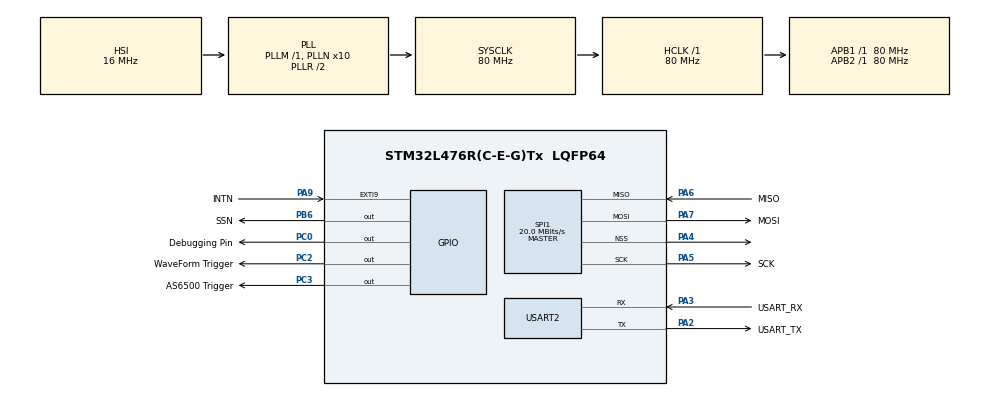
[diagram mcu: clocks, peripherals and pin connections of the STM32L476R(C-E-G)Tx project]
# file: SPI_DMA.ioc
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Dma.Request0=SPI1_RX
Dma.Request1=SPI1_TX
Dma.SPI1_RX.0.Direction=DMA_PERIPH_TO_MEMORY
Dma.SPI1_RX.0.Instance=DMA1_Channel2
Dma.SPI1_RX.0.MemDataAlignment=DMA_MDATAALIGN_BYTE
Dma.SPI1_RX.0.MemInc=DMA_MINC_ENABLE
Dma.SPI1_RX.0.Mode=DMA_NORMAL
Dma.SPI1_RX.0.PeriphDataAlignment=DMA_PDATAALIGN_BYTE
Dma.SPI1_RX.0.PeriphInc=DMA_PINC_DISABLE
Dma.SPI1_RX.0.Priority=DMA_PRIORITY_VERY_HIGH
Dma.SPI1_TX.1.Direction=DMA_MEMORY_TO_PERIPH
Dma.SPI1_TX.1.Instance=DMA1_Channel3
Dma.SPI1_TX.1.MemDataAlignment=DMA_MDATAALIGN_BYTE
Dma.SPI1_TX.1.MemInc=DMA_MINC_ENABLE
Dma.SPI1_TX.1.Mode=DMA_NORMAL
Dma.SPI1_TX.1.PeriphDataAlignment=DMA_PDATAALIGN_BYTE
Dma.SPI1_TX.1.PeriphInc=DMA_PINC_DISABLE
Dma.SPI1_TX.1.Priority=DMA_PRIORITY_VERY_HIGH
Mcu.Family=STM32L4
Mcu.Name=STM32L476R(C-E-G)Tx
Mcu.Package=LQFP64
NVIC.DMA1_Channel2_IRQn=true\:0\:0\:false\:false\:true\:false\:true
NVIC.DMA1_Channel3_IRQn=true\:0\:0\:false\:false\:true\:false\:true
NVIC.EXTI9_5_IRQn=true\:0\:0\:false\:false\:true\:true\:true
NVIC.PriorityGroup=NVIC_PRIORITYGROUP_4
PA13\ (JTMS-SWDIO).GPIO_Label=TMS
PA13\ (JTMS-SWDIO).Mode=Serial_Wire
PA13\ (JTMS-SWDIO).Signal=SYS_JTMS-SWDIO
PA14\ (JTCK-SWCLK).GPIO_Label=TCK
PA14\ (JTCK-SWCLK).Mode=Serial_Wire
PA14\ (JTCK-SWCLK).Signal=SYS_JTCK-SWCLK
PA2.GPIO_Label=USART_TX
PA2.GPIO_Mode=GPIO_MODE_AF_PP
PA2.GPIO_PuPd=GPIO_NOPULL
PA2.GPIO_Speed=GPIO_SPEED_FREQ_VERY_HIGH
PA2.Mode=Asynchronous
PA2.Signal=USART2_TX
PA3.GPIO_Label=USART_RX
PA3.GPIO_Mode=GPIO_MODE_AF_PP
PA3.GPIO_PuPd=GPIO_NOPULL
PA3.GPIO_Speed=GPIO_SPEED_FREQ_VERY_HIGH
PA3.Mode=Asynchronous
PA3.Signal=USART2_RX
PA4.GPIO_Speed=GPIO_SPEED_FREQ_HIGH
PA4.Mode=NSS_Signal_Hard_Output
PA4.Signal=SPI1_NSS
PA5.GPIO_Label=SCK
PA5.GPIO_PuPd=GPIO_PULLDOWN
PA5.GPIO_Speed=GPIO_SPEED_FREQ_HIGH
PA5.Mode=Full_Duplex_Master
PA5.Signal=SPI1_SCK
PA6.GPIO_Label=MISO
PA6.GPIO_PuPd=GPIO_NOPULL
PA6.GPIO_Speed=GPIO_SPEED_FREQ_HIGH
PA6.Mode=Full_Duplex_Master
PA6.Signal=SPI1_MISO
PA7.GPIO_Label=MOSI
PA7.GPIO_PuPd=GPIO_PULLDOWN
PA7.GPIO_Speed=GPIO_SPEED_FREQ_HIGH
PA7.Mode=Full_Duplex_Master
PA7.Signal=SPI1_MOSI
PA9.GPIO_Label=INTN
PA9.GPIO_ModeDefaultEXTI=GPIO_MODE_IT_RISING_FALLING
PA9.GPIO_PuPd=GPIO_NOPULL
PA9.Signal=GPXTI9
PB3\ (JTDO-TRACESWO).GPIO_Label=SWO
PB3\ (JTDO-TRACESWO).Signal=SYS_JTDO-SWO
PB6.GPIO_FM6=__NULL
PB6.GPIO_Label=SSN
PB6.GPIO_PuPd=GPIO_PULLUP
PB6.GPIO_Speed=GPIO_SPEED_FREQ_HIGH
PB6.PinState=GPIO_PIN_SET
PB6.Signal=GPIO_Output
PC0.GPIO_Label=Debugging Pin
PC0.GPIO_PuPd=GPIO_PULLDOWN
PC0.GPIO_Speed=GPIO_SPEED_FREQ_HIGH
PC0.Signal=GPIO_Output
PC2.GPIO_Label=WaveForm Trigger
PC2.GPIO_PuPd=GPIO_PULLDOWN
PC2.GPIO_Speed=GPIO_SPEED_FREQ_HIGH
PC2.Signal=GPIO_Output
PC3.GPIO_Label=AS6500 Trigger
PC3.GPIO_PuPd=GPIO_PULLDOWN
PC3.GPIO_Speed=GPIO_SPEED_FREQ_HIGH
PC3.Signal=GPIO_Output
ProjectManager.HeapSize=0x200
ProjectManager.StackSize=0x400
ProjectManager.TargetToolchain=STM32CubeIDE
RCC.ADCFreq_Value=64000000
RCC.AHBFreq_Value=80000000
RCC.APB1Freq_Value=80000000
RCC.APB1TimFreq_Value=80000000
RCC.APB2Freq_Value=80000000
RCC.APB2TimFreq_Value=80000000
RCC.CortexFreq_Value=80000000
RCC.HCLKFreq_Value=80000000
RCC.HSE_VALUE=8000000
RCC.HSI_VALUE=16000000
RCC.LSE_VALUE=32768
RCC.MSI_VALUE=4000000
RCC.PLLN=10
RCC.PLLSourceVirtual=RCC_PLLSOURCE_HSI
RCC.PREFETCH_ENABLE=1
RCC.SYSCLKFreq_VALUE=80000000
RCC.SYSCLKSource=RCC_SYSCLKSOURCE_PLLCLK
RCC.USBFreq_Value=64000000
RCC.VCOOutputFreq_Value=160000000
SPI1.BaudRatePrescaler=SPI_BAUDRATEPRESCALER_4
SPI1.CLKPhase=SPI_PHASE_2EDGE
SPI1.CalculateBaudRate=20.0 MBits/s
SPI1.DataSize=SPI_DATASIZE_8BIT
SPI1.Direction=SPI_DIRECTION_2LINES
SPI1.Mode=SPI_MODE_MASTER
SPI1.TIMode=SPI_TIMODE_DISABLE
SPI1.VirtualNSS=VM_NSSHARD
SPI1.VirtualType=VM_MASTER
USART2.VirtualMode-Asynchronous=VM_ASYNC
board=NUCLEO-L476RG

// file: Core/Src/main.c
/* USER CODE BEGIN Header */
/**
  ******************************************************************************
  * @file           : main.c
  * @brief          : Main program body
  ******************************************************************************
  * @attention
  *
  * Copyright (c) 2022 STMicroelectronics.
  * All rights reserved.
  *
  * This software is licensed under terms that can be found in the LICENSE file
  * in the root directory of this software component.
  * If no LICENSE file comes with this software, it is provided AS-IS.
  *
  ******************************************************************************
  */
/* USER CODE END Header */
#include "main.h"

/* USER CODE BEGIN Includes */
#include "user_spi_dma_interface.c"
#include "user_spi_interface.c"
#include "user_tools.c"

/* USER CODE END Includes */

/* USER CODE BEGIN PD */

// Opcode Hex / BIN Description / One Byte
#define spiopc_power        0x30	// = 0b00110000 Power on reset and stop measurement
#define spiopc_init         0x18	// = 0b00011000 Initializes Chip and starts measurement
#define spiopc_write_config 0x80	// = 0b100XXXXX 0x60 = 0b011XXXXX
#define spiopc_read_results 0x60	// = 0b011XXXXX Read opcode for result and status register X=8..31
#define spiopc_read_config  0x40	// = 0b010XXXXX Readout of configuration register X=0..16

#define put_ssn_low (SSN_GPIO_Port->BRR = (uint32_t)SSN_Pin)		// 1. Put SSN low - Activate, SSN -> CLK = 3.6us
#define put_ssn_high (SSN_GPIO_Port->BSRR = (uint32_t)SSN_Pin)	// 4. Put SSN high - Deactivate, CLK -> SSN = 8us

/* USER CODE END PD */

SPI_HandleTypeDef hspi1;
DMA_HandleTypeDef hdma_spi1_rx;
DMA_HandleTypeDef hdma_spi1_tx;

UART_HandleTypeDef huart2;

/* USER CODE BEGIN PV */

/* empty configuration*/
uint8_t CFG_Empty [] = {
		0xFF, 0xFF, 0xFF, 0xFF,
		0xFF, 0xFF, 0xFF, 0xFF,
		0xFF, 0xFF, 0xFF, 0xFF,
		0xFF, 0xFF, 0xFF, 0xFF,
		0xFF, 0xFF, 0xFF, 0xFF
};

/* default configuration*/
uint8_t CFG_Registers [] = {
		0x31, 0x01, 0x1F, 0x40,
		0x0D, 0x03, 0xC0, 0x53,
		0xA1, 0x13, 0x00, 0x0A,
		0xCC, 0xCC, 0x31, 0x8E,
		0x04, 0x00, 0x00, 0x00
};

/* 5MHzRef_on_board config */
uint8_t CFG_DUT_Registers [] = {
		0x83, 0x03, 0x1D, 0x20,  //CFG 0 - PIN_ENA_RSTIDX bit[7] instead of 0x03 -->0x83
		0x4E, 0x00, 0xC0, 0xD3,  //CFG 3,4,5 - REFCLK_DEVISION = 20000
		0xA1, 0x13, 0x00, 0x0A,
		0xCC, 0xCC, 0xF1, 0x7D,
		0x04, 0x00, 0x00, 0x00
};

uint8_t CFG_DUT_Registers_DMA [] = {
		0x80,                    //spiopc_write_config
		0x83, 0x03, 0x1D, 0x20,  //CFG 0 - PIN_ENA_RSTIDX bit[7] instead of 0x03 -->0x83
		0x4E, 0x00, 0xC0, 0xD3,  //CFG 3,4,5 - REFCLK_DEVISION = 20000
		0xA1, 0x13, 0x00, 0x0A,
		0xCC, 0xCC, 0xF1, 0x7D,
		0x04, 0x00, 0x00, 0x00
};

uint8_t choose = 0;
int wr_until = 18;

static uint8_t Read_REG [20] = {0, 0, 0, 0, 0, 0, 0, 0, 0, 0,
		0, 0, 0, 0, 0, 0, 0, 0, 0, 0};

volatile uint32_t My_INTN_Counter = 0;
volatile uint8_t My_INTN_State = 1;

volatile uint8_t MyResetIndex = 1;

uint32_t Index_No = 0;
uint32_t RD_Trigger = 0;

uint32_t timeout_count = 12800;
uint32_t RD_Timeout = 128;
volatile uint32_t Raw_Array[1000][4];

volatile float Last_REFID1 = 0, Last_REFID2 = 0;
volatile float Last_TSTOP1 = 0, Last_TSTOP2 = 0;

#define max_index 40 //1000
volatile float DiffTSTOP[max_index] , DiffREFID[max_index] ;
volatile float Final_CALC[max_index];

volatile float My_Hit_01 = 0;
volatile float My_Hit_02 = 0;
volatile float My_Last_Hit = 0;
volatile uint32_t My_Clear_FIFO = 0;

volatile uint8_t Valid_TSTOP1 = 0, Valid_TSTOP2 = 0, Calc_Diff = 0;

uint32_t fifo_size = 0;

uint32_t FIFO_Expect_Burst = 32; // number of expected STOP pulses, max.

volatile uint32_t Calc_Index = 0; 		// Index of calculated arrays
volatile uint32_t WR_Index = 0; // Write into Raw_Array[]
volatile uint32_t RD_Index = 0; // Read from Raw_Array[]

//uint32_t REFCLK_DIVISIONS = 200000; //REF Clock = 5 MHz, Period = 200ns
volatile uint32_t REFCLK_DIVISIONS = 20000;

/* USER CODE END PV */

void SystemClock_Config(void);
static void MX_GPIO_Init(void);
static void MX_USART2_UART_Init(void);
static void MX_DMA_Init(void);
static void MX_SPI1_Init(void);
/* USER CODE BEGIN PFP */

void HAL_GPIO_EXTI_Callback(uint16_t GPIO_Pin);
void HAL_SPI_TxCpltCallback(SPI_HandleTypeDef *hspi);
void HAL_SPI_RxCpltCallback(SPI_HandleTypeDef * hspi);
void HAL_SPI_TxRxCpltCallback(SPI_HandleTypeDef * hspi);

void POST_Processing(void);
void Trigger_Generation(void);

void HAL_SPI_MY_TransmitReceive_DMA(SPI_HandleTypeDef *hspi, uint8_t *pTxData, uint8_t *pRxData, uint16_t Size);
void HAL_SPI_MY_Transmit_DMA(SPI_HandleTypeDef *hspi, uint8_t *pTxData, uint16_t Size);

/* USER CODE END PFP */

int main(void)
{

  /* MCU Configuration--------------------------------------------------------*/

  /* Reset of all peripherals, Initializes the Flash interface and the Systick. */
  HAL_Init();

  /* Configure the system clock */
  SystemClock_Config();

  /* Initialize all configured peripherals */
  MX_GPIO_Init();
  MX_USART2_UART_Init();
  MX_DMA_Init();
  MX_SPI1_Init();
  /* USER CODE BEGIN 2 */

  uint8_t TX_Array[1];

  // Note: following switch() uses these cases:
  // 0 - My Function
  // 1 - HAL Function
  // 2 - HAL DMA Function
  // 3 - My (extern) DMA Function
  // 4 - My (intern) DMA Function

  // Transmitting opcode SystemReset, only
  TX_Array[0] = spiopc_power;
  switch(choose) {
  case 0: // My Function works - 12 us
	  Write_Opcode(spiopc_power);
	  break;
  case 1: // HAL Function works - 10 us
	  put_ssn_low; //macro
	  HAL_SPI_Transmit(&hspi1, TX_Array, 1, 10);
	  put_ssn_high; //macro
	  break;
  case 2: // HAL DMA Function works with Callback, only!
	  put_ssn_low;
	  // Works only with HAL_SPI_TxCpltCallback function - 18 us
	  HAL_SPI_Transmit_DMA(&hspi1, TX_Array, 1);
	  // SSN goes high by using Callback
	  break;
  case 3: // My (extern) DMA Function works - 2.6 us
	  My_Transmit_DMA(TX_Array, 1);
	  break;
  case 4: // My (intern) DMA Function works - 1.7 us ****
	  HAL_SPI_MY_Transmit_DMA(&hspi1, TX_Array, 1);
	  break;
  default:
	  choose = 0;
  }

  Delay_100us(1); // 100us, Delay between power-on or initialisation reset and next communication

  // write config
  switch(choose) {
  case 0: // My Function works - 200 us
	  Write_Byte_Auto_Incr_Lite(spiopc_write_config, 0, CFG_DUT_Registers, 17);
	  break;
  case 1: // HAL Function works - 20 us (fast, except SSN)
	  put_ssn_low; //macro
	  HAL_SPI_Transmit(&hspi1, CFG_DUT_Registers_DMA, wr_until, 10); //size = opcode + data
	  put_ssn_high; //macro
	  break;
  case 2: // HAL DMA Function works with Callback, only!
	  put_ssn_low;

	  // Works only with HAL_SPI_TxCpltCallback function - 25 us
	  HAL_SPI_Transmit_DMA(&hspi1, CFG_DUT_Registers_DMA, wr_until);
	  // SSN goes high by using Callback
	  break;
  case 3: // My (extern) DMA Function works - 8.8 us
	  My_Transmit_DMA(CFG_DUT_Registers_DMA, wr_until);
	  break;
  case 4: // My (intern) DMA Function works - 7.8 us ****
	  HAL_SPI_MY_Transmit_DMA(&hspi1, CFG_DUT_Registers_DMA, wr_until);
	  break;
  default:
	  choose = 0;
  }

  Delay_100us(1); // 100us, Delay between power-on or initialisation reset and next communication

  // read config
  CFG_Empty[0] = spiopc_read_config;
  switch(choose) {
  case 0: // My Function works - 50 us
	  Read_Byte_Auto_Incr_Lite(spiopc_read_config, 0, Read_REG, 17);
	  break;
  case 1: // HAL Function works - 37 us
	  put_ssn_low; //macro
	  HAL_SPI_TransmitReceive(&hspi1, CFG_Empty, Read_REG, 18, 10);
	  put_ssn_high; //macro
	  break;
  case 2: // HAL DMA Function works with Callback, only!
	  put_ssn_low; //macro

	  // a) Works only with HAL_SPI_TxRxCpltCallback function - 27 us
	  HAL_SPI_TransmitReceive_DMA(&hspi1, CFG_Empty, Read_REG, 18);
	  // SSN goes high by using Callback Function

	  // b) Works only with HAL_SPI_RxCpltCallback function - 42 us
	  //HAL_SPI_Transmit_DMA(&hspi1, CFG_Empty, 1);
	  //HAL_SPI_Receive_DMA(&hspi1, Read_REG, 17);
	  // SSN goes high by using Callback Function
	  break;
  case 3: // My (extern) DMA Function works - 8.8 us
	  My_TransmitReceive_DMA(CFG_Empty, Read_REG, 18);
	  break;
  case 4: // My (intern) DMA Function works - 7.8 us ****
	  HAL_SPI_MY_TransmitReceive_DMA(&hspi1, CFG_Empty, Read_REG, 18);
	  break;
  default:
	  choose = 0;
  }

  Delay_100us(1); // 100us, Delay between power-on or initialisation reset and next communication

  //write INIT
  TX_Array[0]= spiopc_init;
  switch(choose) {
  case 0: // My Function works - 12 us
	  Write_Opcode(spiopc_init);
	  break;
  case 1: // HAL Function works - 10 us
	  put_ssn_low; //macro
	  HAL_SPI_Transmit(&hspi1, TX_Array, 1, 10);
	  put_ssn_high; //macro
	  break;
  case 2: // HAL DMA Function works with Callback, only!
	  put_ssn_low;
	  // Works only with HAL_SPI_TxCpltCallback function - 18 us
	  HAL_SPI_Transmit_DMA(&hspi1, TX_Array, 1);
	  // SSN goes high by using Callback
	  break;
  case 3: // My (extern) DMA Function works - 2.6 us
	  My_Transmit_DMA(TX_Array, 1);
	  break;
  case 4: // My (intern) DMA Function works - 1.7 us ****
	  HAL_SPI_MY_Transmit_DMA(&hspi1, TX_Array, 1);
	  break;
  default:
	  choose = 0;
  }

  /* USER CODE END 2 */

  /* Infinite loop */
  while (1)
  {

  }
}

void SystemClock_Config(void)
{
  RCC_OscInitTypeDef RCC_OscInitStruct = {0};
  RCC_ClkInitTypeDef RCC_ClkInitStruct = {0};

  /** Configure the main internal regulator output voltage
  */
  if (HAL_PWREx_ControlVoltageScaling(PWR_REGULATOR_VOLTAGE_SCALE1) != HAL_OK)
  {
    Error_Handler();
  }
  /** Initializes the RCC Oscillators according to the specified parameters
  * in the RCC_OscInitTypeDef structure.
  */
  RCC_OscInitStruct.OscillatorType = RCC_OSCILLATORTYPE_HSI;
  RCC_OscInitStruct.HSIState = RCC_HSI_ON;
  RCC_OscInitStruct.HSICalibrationValue = RCC_HSICALIBRATION_DEFAULT;
  RCC_OscInitStruct.PLL.PLLState = RCC_PLL_ON;
  RCC_OscInitStruct.PLL.PLLSource = RCC_PLLSOURCE_HSI;
  RCC_OscInitStruct.PLL.PLLM = 1;
  RCC_OscInitStruct.PLL.PLLN = 10;
  RCC_OscInitStruct.PLL.PLLP = RCC_PLLP_DIV7;
  RCC_OscInitStruct.PLL.PLLQ = RCC_PLLQ_DIV2;
  RCC_OscInitStruct.PLL.PLLR = RCC_PLLR_DIV2;
  if (HAL_RCC_OscConfig(&RCC_OscInitStruct) != HAL_OK)
  {
    Error_Handler();
  }
  /** Initializes the CPU, AHB and APB buses clocks
  */
  RCC_ClkInitStruct.ClockType = RCC_CLOCKTYPE_HCLK|RCC_CLOCKTYPE_SYSCLK
                              |RCC_CLOCKTYPE_PCLK1|RCC_CLOCKTYPE_PCLK2;
  RCC_ClkInitStruct.SYSCLKSource = RCC_SYSCLKSOURCE_PLLCLK;
  RCC_ClkInitStruct.AHBCLKDivider = RCC_SYSCLK_DIV1;
  RCC_ClkInitStruct.APB1CLKDivider = RCC_HCLK_DIV1;
  RCC_ClkInitStruct.APB2CLKDivider = RCC_HCLK_DIV1;

  if (HAL_RCC_ClockConfig(&RCC_ClkInitStruct, FLASH_LATENCY_4) != HAL_OK)
  {
    Error_Handler();
  }
}

static void MX_SPI1_Init(void)
{

  /* SPI1 parameter configuration*/
  hspi1.Instance = SPI1;
  hspi1.Init.Mode = SPI_MODE_MASTER;
  hspi1.Init.Direction = SPI_DIRECTION_2LINES;
  hspi1.Init.DataSize = SPI_DATASIZE_8BIT;
  hspi1.Init.CLKPolarity = SPI_POLARITY_LOW;
  hspi1.Init.CLKPhase = SPI_PHASE_2EDGE;
  hspi1.Init.NSS = SPI_NSS_HARD_OUTPUT;
  hspi1.Init.BaudRatePrescaler = SPI_BAUDRATEPRESCALER_4;
  hspi1.Init.FirstBit = SPI_FIRSTBIT_MSB;
  hspi1.Init.TIMode = SPI_TIMODE_DISABLE;
  hspi1.Init.CRCCalculation = SPI_CRCCALCULATION_DISABLE;
  hspi1.Init.CRCPolynomial = 7;
  hspi1.Init.CRCLength = SPI_CRC_LENGTH_DATASIZE;
  hspi1.Init.NSSPMode = SPI_NSS_PULSE_DISABLE;
  if (HAL_SPI_Init(&hspi1) != HAL_OK)
  {
    Error_Handler();
  }

}

static void MX_USART2_UART_Init(void)
{

  huart2.Instance = USART2;
  huart2.Init.BaudRate = 115200;
  huart2.Init.WordLength = UART_WORDLENGTH_8B;
  huart2.Init.StopBits = UART_STOPBITS_1;
  huart2.Init.Parity = UART_PARITY_NONE;
  huart2.Init.Mode = UART_MODE_TX_RX;
  huart2.Init.HwFlowCtl = UART_HWCONTROL_NONE;
  huart2.Init.OverSampling = UART_OVERSAMPLING_16;
  huart2.Init.OneBitSampling = UART_ONE_BIT_SAMPLE_DISABLE;
  huart2.AdvancedInit.AdvFeatureInit = UART_ADVFEATURE_NO_INIT;
  if (HAL_UART_Init(&huart2) != HAL_OK)
  {
    Error_Handler();
  }

}

static void MX_DMA_Init(void)
{

  /* DMA controller clock enable */
  __HAL_RCC_DMA1_CLK_ENABLE();

  /* DMA interrupt init */
  /* DMA1_Channel2_IRQn interrupt configuration */
  HAL_NVIC_SetPriority(DMA1_Channel2_IRQn, 0, 0);
  HAL_NVIC_EnableIRQ(DMA1_Channel2_IRQn);
  /* DMA1_Channel3_IRQn interrupt configuration */
  HAL_NVIC_SetPriority(DMA1_Channel3_IRQn, 0, 0);
  HAL_NVIC_EnableIRQ(DMA1_Channel3_IRQn);

}

static void MX_GPIO_Init(void)
{
  GPIO_InitTypeDef GPIO_InitStruct = {0};

  /* GPIO Ports Clock Enable */
  __HAL_RCC_GPIOC_CLK_ENABLE();
  __HAL_RCC_GPIOA_CLK_ENABLE();
  __HAL_RCC_GPIOB_CLK_ENABLE();

  /*Configure GPIO pin Output Level */
  HAL_GPIO_WritePin(GPIOC, Debugging_Pin_Pin|WaveForm_Trigger_Pin|AS6500_Trigger_Pin, GPIO_PIN_RESET);

  /*Configure GPIO pin Output Level */
  HAL_GPIO_WritePin(SSN_GPIO_Port, SSN_Pin, GPIO_PIN_SET);

  /*Configure GPIO pins : Debugging_Pin_Pin WaveForm_Trigger_Pin AS6500_Trigger_Pin */
  GPIO_InitStruct.Pin = Debugging_Pin_Pin|WaveForm_Trigger_Pin|AS6500_Trigger_Pin;
  GPIO_InitStruct.Mode = GPIO_MODE_OUTPUT_PP;
  GPIO_InitStruct.Pull = GPIO_PULLDOWN;
  GPIO_InitStruct.Speed = GPIO_SPEED_FREQ_HIGH;
  HAL_GPIO_Init(GPIOC, &GPIO_InitStruct);

  /*Configure GPIO pin : INTN_Pin */
  GPIO_InitStruct.Pin = INTN_Pin;
  GPIO_InitStruct.Mode = GPIO_MODE_IT_RISING_FALLING;
  GPIO_InitStruct.Pull = GPIO_NOPULL;
  HAL_GPIO_Init(INTN_GPIO_Port, &GPIO_InitStruct);

  /*Configure GPIO pin : SSN_Pin */
  GPIO_InitStruct.Pin = SSN_Pin;
  GPIO_InitStruct.Mode = GPIO_MODE_OUTPUT_PP;
  GPIO_InitStruct.Pull = GPIO_PULLUP;
  GPIO_InitStruct.Speed = GPIO_SPEED_FREQ_HIGH;
  HAL_GPIO_Init(SSN_GPIO_Port, &GPIO_InitStruct);

  /* EXTI interrupt init*/
  HAL_NVIC_SetPriority(EXTI9_5_IRQn, 0, 0);
  HAL_NVIC_EnableIRQ(EXTI9_5_IRQn);

}

/* USER CODE BEGIN 4 */

void HAL_GPIO_EXTI_Callback(uint16_t GPIO_Pin)
{
	/* stm32l4xx_hal_gpio.c */

	/* Prevent unused argument(s) compilation warning */
	UNUSED(GPIO_Pin);

	// Note: It takes about 1us after INTN
	//Debugging_Pin_GPIO_Port->BSRR = (uint32_t)Debugging_Pin_Pin; // SET
	//Debugging_Pin_GPIO_Port->BRR = (uint32_t)Debugging_Pin_Pin; // RESET

	if (GPIO_Pin == INTN_Pin) {
		My_INTN_State = (HAL_GPIO_ReadPin(INTN_GPIO_Port, INTN_Pin) == GPIO_PIN_SET); /* low active */
		if (My_INTN_State == 0) {
			My_INTN_Counter += 1;
		}
	}

	//HAL_GPIO_TogglePin(Debugging_Pin_GPIO_Port, Debugging_Pin_Pin);
}

void HAL_SPI_TxCpltCallback(SPI_HandleTypeDef *hspi)
{
    // TX-RX Done .. Do Something ...
	//while((hspi->Instance->SR & SPI_SR_RXNE)!=RESET);	// Receive buffer Not Empty
	while((hspi->Instance->SR & SPI_SR_BSY)!=RESET);	// Busy flag
	SSN_GPIO_Port->BSRR = (uint32_t)SSN_Pin;			// Put SSN high - Deactivate
	// Debugging (GPIO C0)
	//Debugging_Pin_GPIO_Port->BSRR = (uint32_t)Debugging_Pin_Pin; // SET
	//Debugging_Pin_GPIO_Port->BRR = (uint32_t)Debugging_Pin_Pin; // RESET
}

void HAL_SPI_RxCpltCallback(SPI_HandleTypeDef * hspi)
{
    // TX-RX Done .. Do Something ...
	while((hspi->Instance->SR & SPI_SR_BSY)!=RESET);	// Busy flag
	SSN_GPIO_Port->BSRR = (uint32_t)SSN_Pin;			// Put SSN high - Deactivate
	// Debugging (GPIO C0)
	//Debugging_Pin_GPIO_Port->BSRR = (uint32_t)Debugging_Pin_Pin; // SET
	//Debugging_Pin_GPIO_Port->BRR = (uint32_t)Debugging_Pin_Pin; // RESET
}

void HAL_SPI_TxRxCpltCallback(SPI_HandleTypeDef * hspi)
{
    // TX-RX Done .. Do Something ...
	while((hspi->Instance->SR & SPI_SR_BSY)!=RESET); 	// Busy flag
	SSN_GPIO_Port->BSRR = (uint32_t)SSN_Pin;			// Put SSN high - Deactivate
	// Debugging (GPIO C0)
	//Debugging_Pin_GPIO_Port->BSRR = (uint32_t)Debugging_Pin_Pin; // SET
	//Debugging_Pin_GPIO_Port->BRR = (uint32_t)Debugging_Pin_Pin; // RESET
}

void POST_Processing(void)
{
	for (int i = 0; i < (WR_Index-RD_Index); i++)
	{
		// Recognition of Last Valid Result for STOP Channel (TX)
		if ( (Raw_Array[RD_Index][0] != 0x00FFFFFF) && (Raw_Array[RD_Index][1] != 0x00FFFFFF) )
		{
			Last_REFID1 = Raw_Array[RD_Index][0];
			Last_TSTOP1 = Raw_Array[RD_Index][1];
			Valid_TSTOP1 = 1;

			Valid_TSTOP2 = 0;
			Calc_Diff = 0;
		}

		// Recognition of Last Valid Result for STOP Channel (RX)
		if ( (Raw_Array[RD_Index][2] != 0x00FFFFFF) && (Raw_Array[RD_Index][3] != 0x00FFFFFF) )
		{
			Last_REFID2 = Raw_Array[RD_Index][2];
			Last_TSTOP2 = Raw_Array[RD_Index][3];
			Valid_TSTOP2 = 1;

		}

		RD_Index++;

		//Execution, only as soon as both channels have last value.
		if ((Valid_TSTOP1 == 1) && (Valid_TSTOP2 == 1))
		{
			// Calculation of STOP2 minus STOP1
			DiffTSTOP[Calc_Index] = ( Last_TSTOP2 - Last_TSTOP1 );
			DiffREFID[Calc_Index] = ( Last_REFID2 - Last_REFID1 );

			Final_CALC[Calc_Index] = ( (DiffTSTOP[Calc_Index]) + (DiffREFID[Calc_Index] * REFCLK_DIVISIONS) );
			Final_CALC[Calc_Index] /= 100000; //Result in [us]

			if ( (Final_CALC[Calc_Index] > 0) )
			{
				Calc_Index++; // pointer at next address.
				Calc_Diff++; // counting calculated difference (STOP2 - STOP1)

			}

		} // End of IF (..Validation)

	} // End of FOR Loop

	return;
}

void Trigger_Generation(void)
{
	// Unlock Blocked FIFO
	// FIFO full -> FIFO blocked, then further pulses are lost.
	// There must be unlocked with two dummy pulses.

	// Unlocking of FIFO with 2 dummy STOPS (plus 1 safety), (because of synchronisation) when FIFO was full once
	// Or unlocking of FIFO by POR + WR configuration once again

	// t.b.d.

	//clear FIFO before restarting
	Clearing_All_FIFOs();

	// Debugging (GPIO C0)
	//HAL_GPIO_TogglePin(Debugging_Pin_GPIO_Port, Debugging_Pin_Pin);

	// Clearing RSTIDX: Reference Index Counter Reset, has to be activated with PIN_ENA_RSTIDX.
	// AS6500 Trigger (GPIO C3) --> RSTIDX
	AS6500_Trigger_GPIO_Port->BSRR = (uint32_t)AS6500_Trigger_Pin; // SET
	AS6500_Trigger_GPIO_Port->BRR = (uint32_t)AS6500_Trigger_Pin; // RESET

	// Triggering WaveForm Generator via GPIO
	// WaveFrom Trigger (GPIO C2) --> STOP1
	WaveForm_Trigger_GPIO_Port->BSRR = (uint32_t)WaveForm_Trigger_Pin; // SET
	WaveForm_Trigger_GPIO_Port->BRR = (uint32_t)WaveForm_Trigger_Pin; // RESET

	return;
}

/*git hub - spi.c*/
void HAL_SPI_MY_TransmitReceive_DMA(SPI_HandleTypeDef *hspi, uint8_t *pTxData, uint8_t *pRxData, uint16_t Size)
{
	hspi->Instance->CR2 |= SPI_CR2_TXDMAEN;							// Enable Tx DMA Request
	hspi->Instance->CR2 |= SPI_CR2_RXDMAEN;							// Enable Rx DMA Request

	hdma_spi1_tx.Instance->CCR &= ~DMA_CCR_EN;						// Channel enable
	hdma_spi1_tx.Instance->CPAR = (uint32_t)&hspi->Instance->DR;	// DMA channel x peripheral address register
	hdma_spi1_tx.Instance->CMAR = (uint32_t)pTxData;				// DMA channel x memory address register
	hdma_spi1_tx.Instance->CNDTR = Size;							// DMA channel x number of data register

	// Put SSN low - Activate
	//HAL_GPIO_WritePin(GPIOA, GPIO_PIN_15, GPIO_PIN_RESET);
	SSN_GPIO_Port->BRR = (uint32_t)SSN_Pin;

	hdma_spi1_tx.Instance->CCR |= DMA_CCR_EN;						// Channel enable
	hdma_spi1_rx.Instance->CCR &= ~DMA_CCR_EN;						// Channel enable
	hdma_spi1_rx.Instance->CPAR = (uint32_t)&hspi->Instance->DR;	// DMA channel x peripheral address register
	hdma_spi1_rx.Instance->CMAR = (uint32_t)pRxData;				// DMA channel x memory address register
	hdma_spi1_rx.Instance->CNDTR = Size;							// DMA channel x number of data register
	hdma_spi1_rx.Instance->CCR |= DMA_CCR_EN;						// Channel enable

	hspi->Instance->CR1 |= SPI_CR1_SPE;								// SPI Enable

	while((hspi->Instance->SR & SPI_SR_RXNE)!=RESET); // Receive buffer Not Empty
	while((hspi->Instance->SR & SPI_SR_BSY)!=RESET); // Busy flag

	// Put SSN high - Deactivate
	//HAL_GPIO_WritePin(GPIOA, GPIO_PIN_15, GPIO_PIN_SET);
	SSN_GPIO_Port->BSRR = (uint32_t)SSN_Pin;
}

void HAL_SPI_MY_Transmit_DMA(SPI_HandleTypeDef *hspi, uint8_t *pTxData, uint16_t Size)
{
	// Work Around
	// Tx and Rx uses the same DMA channel x memory address register
	hspi->Instance->CR2 |= SPI_CR2_TXDMAEN;							// Enable Tx DMA Request
	hspi->Instance->CR2 |= SPI_CR2_RXDMAEN;							// Enable Rx DMA Request

	hdma_spi1_tx.Instance->CCR &= ~DMA_CCR_EN;						// Channel enable
	hdma_spi1_tx.Instance->CPAR = (uint32_t)&hspi->Instance->DR;	// DMA channel x peripheral address register
	hdma_spi1_tx.Instance->CMAR = (uint32_t)pTxData;				// DMA channel x memory address register
	hdma_spi1_tx.Instance->CNDTR = Size;							// DMA channel x number of data register

	// Put SSN low - Activate
	//HAL_GPIO_WritePin(GPIOA, GPIO_PIN_15, GPIO_PIN_RESET);
	SSN_GPIO_Port->BRR = (uint32_t)SSN_Pin;

	hdma_spi1_tx.Instance->CCR |= DMA_CCR_EN;						// Channel enable
	hdma_spi1_rx.Instance->CCR &= ~DMA_CCR_EN;						// Channel enable
	hdma_spi1_rx.Instance->CPAR = (uint32_t)&hspi->Instance->DR;	// DMA channel x peripheral address register
	hdma_spi1_rx.Instance->CMAR = (uint32_t)pTxData;				// DMA channel x memory address register
	hdma_spi1_rx.Instance->CNDTR = Size;							// DMA channel x number of data register
	hdma_spi1_rx.Instance->CCR |= DMA_CCR_EN;						// Channel enable

	hspi->Instance->CR1 |= SPI_CR1_SPE;								// SPI Enable

	while((hspi->Instance->SR & SPI_SR_RXNE)!=RESET); // Receive buffer Not Empty
	while((hspi->Instance->SR & SPI_SR_BSY)!=RESET); // Busy flag

	// Put SSN high - Deactivate
	//HAL_GPIO_WritePin(GPIOA, GPIO_PIN_15, GPIO_PIN_SET);
	SSN_GPIO_Port->BSRR = (uint32_t)SSN_Pin;
}
/*
// Put SSN low - Activate
SSN_GPIO_Port->BRR = (uint32_t)SSN_Pin;
// Put SSN high - Deactivate
SSN_GPIO_Port->BSRR = (uint32_t)SSN_Pin;
*/

/* USER CODE END 4 */

void Error_Handler(void)
{
  __disable_irq();
  while (1)
  {
  }
}
